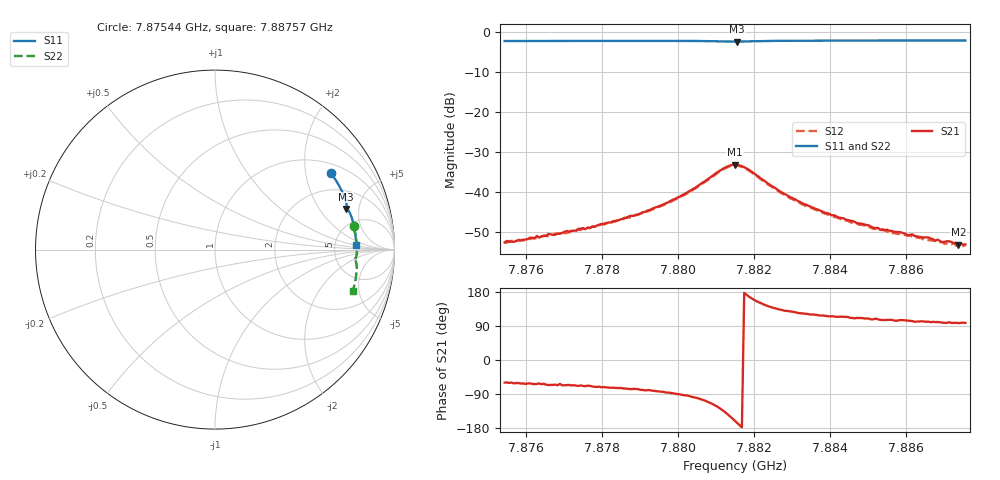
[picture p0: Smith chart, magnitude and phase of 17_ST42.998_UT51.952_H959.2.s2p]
#  HZ  S  DB  R  50.00
! Rohde & Schwarz Vector Network Analyzer
! Rohde-Schwarz,ZNB20-2Port,1311601062101988,3.16
! Created: UTC 1/12/2023, 6:30:20 PM
! freq[Hz]  db:S11  ang:S11  db:S21  ang:S21  db:S12  ang:S12  db:S22  ang:S22
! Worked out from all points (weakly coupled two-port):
!   201 points, 7.87544 GHz to 7.88757 GHz, reference 50 ohm
!   highest |S21| = -33.21 dB at 7.88151 GHz (marker M1); lowest = -53.2 dB at 7.88739 GHz (marker M2)
!   lowest |S11| = -2.4 dB at 7.88157 GHz (marker M3), VSWR 7.41, Z = 167 + j181 ohm
!   |S11| at or under -10 dB: nowhere
!   |S22| runs from -2.2 to -1.9 dB; largest |S21 - S12| = 0.0014
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7.875441e9  -2.22 33.3  -52.66 -59.6  -52.74 -63.5  -2.13 9.5
7.87623e9  -2.20 31.2  -51.62 -63.8  -51.65 -65.5  -2.10 7.7
7.87629e9  -2.21 31.0  -51.06 -63.2  -51.48 -67.7  -2.10 7.5
7.876351e9  -2.20 30.8  -51.48 -61.9  -51.21 -67.4  -2.10 7.4
7.876594e9  -2.20 30.2  -50.54 -66.1  -51.16 -67.7  -2.09 6.8
7.876776e9  -2.20 29.7  -50.77 -64.9  -50.42 -69.1  -2.08 6.4
7.877503e9  -2.19 27.7  -49.08 -68.4  -49.21 -71.6  -2.07 4.7
7.877807e9  -2.18 26.9  -48.80 -70.4  -48.68 -73.4  -2.05 4.0
7.878777e9  -2.17 24.2  -46.00 -76.9  -46.34 -79.9  -2.04 1.8
7.879505e9  -2.17 22.2  -43.60 -82.9  -43.74 -87.0  -2.04 0.0
7.880354e9  -2.19 19.7  -39.56 -97.0  -39.81 -99.9  -2.05 -2.1
7.881203e9  -2.31 17.6  -34.14 -134.3  -34.32 -137.3  -2.17 -4.0
7.881507e9  -2.36 17.4  -33.21 -160.7  -33.43 -164.2  -2.23 -4.1
7.881567e9  -2.36 17.3  -33.27 -166.5  -33.43 -169.8  -2.22 -4.0
7.88187e9  -2.29 17.1  -34.47 167.6  -34.69 164.4  -2.16 -4.1
7.882962e9  -2.15 14.1  -41.34 128.1  -41.65 124.4  -2.00 -6.5
7.883569e9  -2.12 12.4  -44.01 120.1  -44.25 116.7  -1.97 -8.0
7.8846e9  -2.11 9.6  -47.32 110.8  -47.79 108.0  -1.95 -10.3
7.88557e9  -2.09 7.1  -49.74 106.0  -49.97 104.5  -1.94 -12.5
7.886238e9  -2.09 5.3  -51.07 100.9  -51.62 98.4  -1.93 -13.9
7.88739e9  -2.07 2.3  -53.22 97.3  -53.29 96.2  -1.92 -16.4
7.887572e9  -2.07 1.8  -53.17 97.7  -53.34 94.0  -1.92 -16.8
